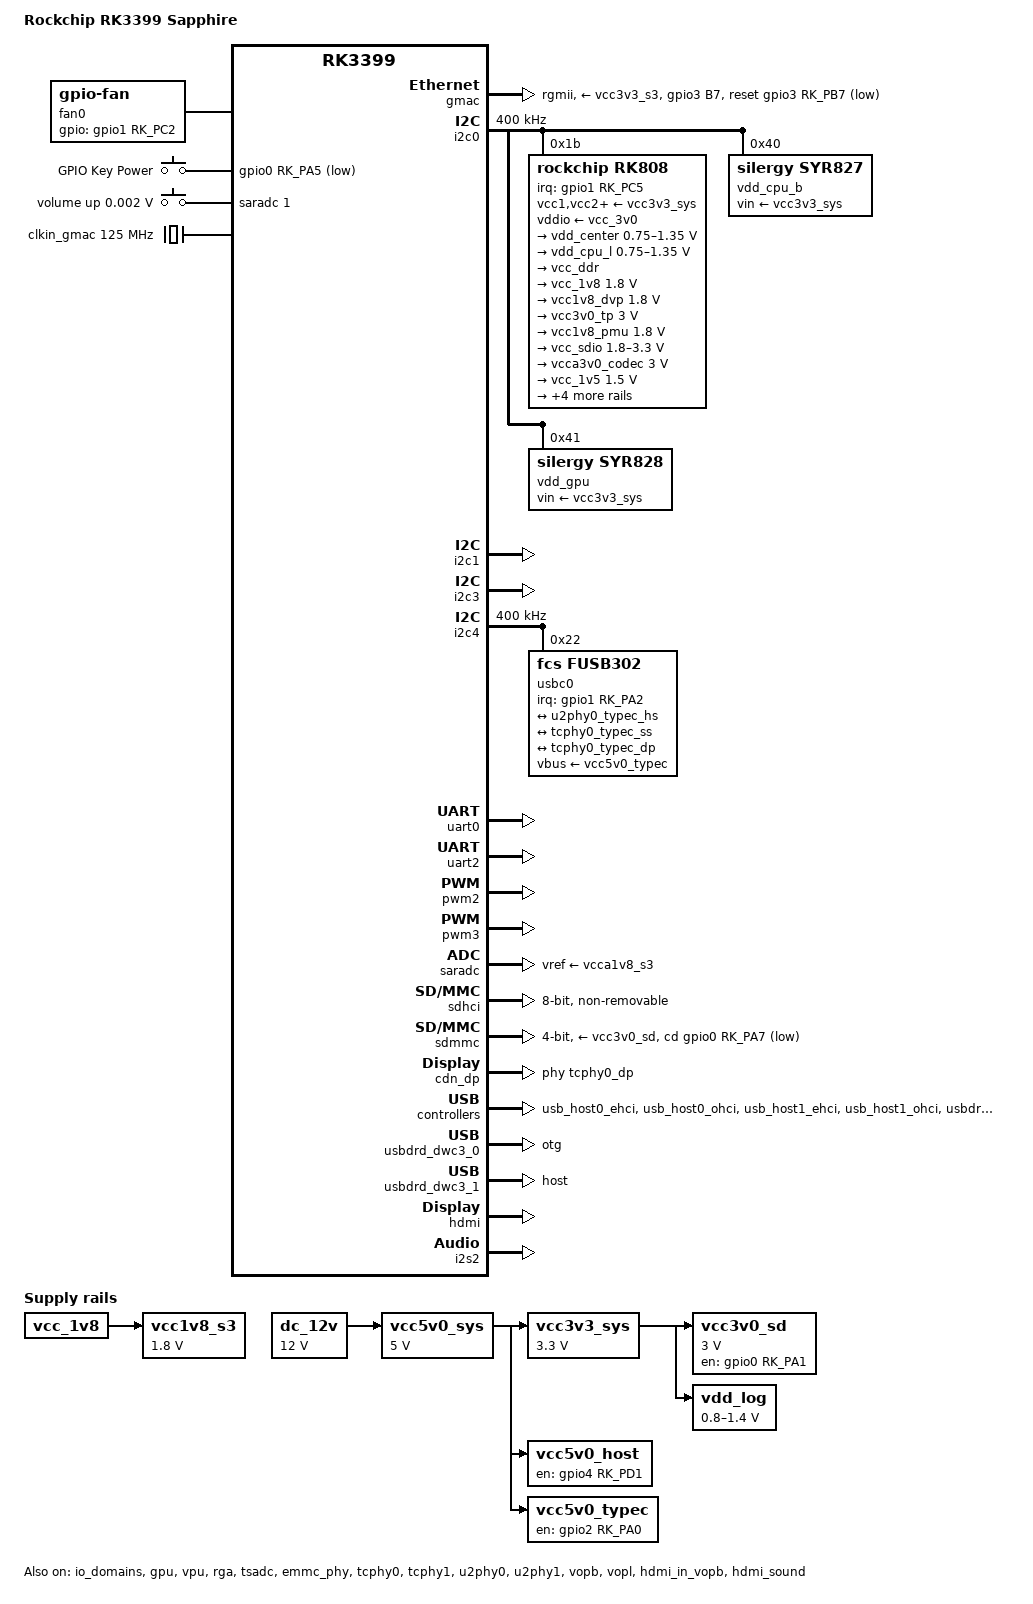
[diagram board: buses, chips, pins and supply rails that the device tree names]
// SPDX-License-Identifier: (GPL-2.0+ OR MIT)
/*
 * Copyright (C) 2025 kaixinos <kaixinos@outlook.com>
 */

/dts-v1/;
#include <dt-bindings/input/linux-event-codes.h>
#include <dt-bindings/leds/common.h>
#include <dt-bindings/pwm/pwm.h>
#include <dt-bindings/usb/pd.h>
#include "rk3399.dtsi"

/ {
	model = "Rockchip RK3399 Sapphire";
	compatible = "rk3399,rk-sapphire", "rockchip,rk3399";

	aliases {
		ethernet0 = &gmac;
		mmc0 = &sdio0;
		mmc1 = &sdmmc;
		mmc2 = &sdhci;
	};

	chosen {
		stdout-path = "serial2:1500000n8";
	};

	dc_12v: dc-12v {
		compatible = "regulator-fixed";
		regulator-name = "dc_12v";
		regulator-always-on;
		regulator-boot-on;
		regulator-min-microvolt = <12000000>;
		regulator-max-microvolt = <12000000>;
	};

	vcc5v0_sys: vcc5v0-sys {
		compatible = "regulator-fixed";
		regulator-name = "vcc5v0_sys";
		regulator-always-on;
		regulator-boot-on;
		regulator-min-microvolt = <5000000>;
		regulator-max-microvolt = <5000000>;
		vin-supply = <&dc_12v>;
	};

	vcc3v3_sys: vcc3v3-sys {
		compatible = "regulator-fixed";
		regulator-name = "vcc3v3_sys";
		regulator-always-on;
		regulator-boot-on;
		regulator-min-microvolt = <3300000>;
		regulator-max-microvolt = <3300000>;
		vin-supply = <&vcc5v0_sys>;
	};

	vcc3v0_sd: vcc3v0-sd {
		compatible = "regulator-fixed";
		regulator-name = "vcc3v0_sd";
		enable-active-high;
		gpio = <&gpio0 RK_PA1 GPIO_ACTIVE_HIGH>;
		pinctrl-names = "default";
		pinctrl-0 = <&sdmmc0_pwr_h>;
		regulator-always-on;
		regulator-min-microvolt = <3000000>;
		regulator-max-microvolt = <3000000>;
		vin-supply = <&vcc3v3_sys>;
	};

	vcc5v0_host: vcc5v0-host {
		compatible = "regulator-fixed";
		regulator-name = "vcc5v0_host";
		enable-active-high;
		gpio = <&gpio4 RK_PD1 GPIO_ACTIVE_HIGH>;
		pinctrl-names = "default";
		pinctrl-0 = <&vcc5v0_host_en>;
		regulator-always-on;
		vin-supply = <&vcc5v0_sys>;
	};

	vcc5v0_typec: vcc5v0-typec {
		compatible = "regulator-fixed";
		regulator-name = "vcc5v0_typec";
		enable-active-high;
		gpio = <&gpio2 RK_PA0 GPIO_ACTIVE_HIGH>;
		pinctrl-names = "default";
		pinctrl-0 = <&vcc5v0_typec_en>;
		vin-supply = <&vcc5v0_sys>;
	};

	vdd_log: vdd-log {
		compatible = "pwm-regulator";
		pwms = <&pwm2 0 25000 1>;
		regulator-name = "vdd_log";
		regulator-always-on;
		regulator-boot-on;
		regulator-min-microvolt = <800000>;
		regulator-max-microvolt = <1400000>;
		//regulator-init-microvolt = <900000>;
		vin-supply = <&vcc3v3_sys>;
	};

	/* switched by pmic_sleep */
	vcc1v8_s3: vcca1v8_s3: vcc1v8-s3 {
		compatible = "regulator-fixed";
		regulator-name = "vcc1v8_s3";
		regulator-always-on;
		regulator-boot-on;
		regulator-min-microvolt = <1800000>;
		regulator-max-microvolt = <1800000>;
		vin-supply = <&vcc_1v8>;
	};

	/*
	 * The fan power supply comes from the baseboard.
	 * For the standalone Sapphire one option is to connect a wire
	 * from  R90030 DNP R0805 pin2  to  C90002 10uF C0805 pin1 (vcc_sys).
	 */
	fan0: gpio-fan {
		status = "okay";
		#cooling-cells = <2>;
		compatible = "gpio-fan";
		gpio-fan,speed-map = <0 0 3000 1>;
		gpios = <&gpio1 RK_PC2 GPIO_ACTIVE_HIGH>;
	};

	gpio-keys {
		compatible = "gpio-keys";
		autorepeat;

		key-power {
			gpios = <&gpio0 RK_PA5 GPIO_ACTIVE_LOW>;
			label = "GPIO Key Power";
			linux,code = <KEY_POWER>;
			debounce-interval = <100>;
			pinctrl-names = "default";
			pinctrl-0 = <&power_key>;
			wakeup-source;
		};
	};

	adc-keys {
		compatible = "adc-keys";
		io-channels = <&saradc 1>;
		io-channel-names = "buttons";
		keyup-threshold-microvolt = <1800000>;
		poll-interval = <100>;

		vol-up-key {
			label = "volume up";
			linux,code = <KEY_VOLUMEUP>;
			press-threshold-microvolt = <1750>;
		};
	};

	clkin_gmac: external-gmac-clock {
		compatible = "fixed-clock";
		clock-frequency = <125000000>;
		clock-output-names = "clkin_gmac";
		#clock-cells = <0>;
	};
};

&io_domains {
	status = "okay";

	bt656-supply = <&vcc_3v0>;		/* APIO2_VDD */
	audio-supply = <&vcca1v8_codec>;	/* APIO5_VDD */
	sdmmc-supply = <&vcc_sdio>;		/* SDMMC0_VDD */
	gpio1830-supply = <&vcc_3v0>;		/* APIO4_VDD */
};

&pmu_io_domains {
	status = "okay";

	pmu1830-supply = <&vcc_3v0>;		/* PMUIO2_VDD */
};

&cpu_l0 {
	cpu-supply = <&vdd_cpu_l>;
};

&cpu_l1 {
	cpu-supply = <&vdd_cpu_l>;
};

&cpu_l2 {
	cpu-supply = <&vdd_cpu_l>;
};

&cpu_l3 {
	cpu-supply = <&vdd_cpu_l>;
};

&cpu_b0 {
	cpu-supply = <&vdd_cpu_b>;
};

&cpu_b1 {
	cpu-supply = <&vdd_cpu_b>;
};

&cpu_thermal {
	trips {
		cpu_hot: cpu_hot {
			hysteresis = <10000>;
			temperature = <55000>;
			type = "active";
		};
	};

	cooling-maps {
		map2 {
			cooling-device =
				<&fan0 THERMAL_NO_LIMIT THERMAL_NO_LIMIT>;
			trip = <&cpu_hot>;
		};
	};
};

&gpu {
	status = "okay";
	mali-supply = <&vdd_gpu>;
};

&vpu {
	status = "okay";
};

&rga {
	status = "okay";
};

&gmac {
	status = "okay";
	assigned-clock-parents = <&clkin_gmac>;
	assigned-clocks = <&cru SCLK_RMII_SRC>;
	clock_in_out = "input";
	phy-supply = <&vcc3v3_s3>;
	phy-mode = "rgmii";
	pinctrl-names = "default";
	pinctrl-0 = <&rgmii_pins &rgmii_phy_reset>;
	snps,reset-gpio = <&gpio3 RK_PB7 GPIO_ACTIVE_LOW>;
	snps,reset-active-low;
	snps,reset-delays-us = <0 10000 50000>;
	tx_delay = <0x28>;
	rx_delay = <0x11>;
};

&i2c0 {
	status = "okay";
	clock-frequency = <400000>;
	i2c-scl-rising-time-ns = <168>;
	i2c-scl-falling-time-ns = <4>;

	rk808: pmic@1b {
		compatible = "rockchip,rk808";
		reg = <0x1b>;
		interrupt-parent = <&gpio1>;
		interrupts = <RK_PC5 IRQ_TYPE_LEVEL_LOW>;
		#clock-cells = <1>;
		clock-output-names = "xin32k", "rk808-clkout2";
		pinctrl-names = "default";
		pinctrl-0 = <&pmic_int_l>;
		rockchip,system-power-controller;
		wakeup-source;

		vcc1-supply = <&vcc3v3_sys>;
		vcc2-supply = <&vcc3v3_sys>;
		vcc3-supply = <&vcc3v3_sys>;
		vcc4-supply = <&vcc3v3_sys>;
		vcc6-supply = <&vcc3v3_sys>;
		vcc7-supply = <&vcc3v3_sys>;
		vcc8-supply = <&vcc3v3_sys>;
		vcc9-supply = <&vcc3v3_sys>;
		vcc10-supply = <&vcc3v3_sys>;
		vcc11-supply = <&vcc3v3_sys>;
		vcc12-supply = <&vcc3v3_sys>;
		vddio-supply = <&vcc_3v0>;

		regulators {
			vdd_center: DCDC_REG1 {
				regulator-name = "vdd_center";
				regulator-always-on;
				regulator-boot-on;
				regulator-min-microvolt = <750000>;
				regulator-max-microvolt = <1350000>;
				regulator-ramp-delay = <6001>;

				regulator-state-mem {
					regulator-off-in-suspend;
				};
			};

			vdd_cpu_l: DCDC_REG2 {
				regulator-name = "vdd_cpu_l";
				regulator-always-on;
				regulator-boot-on;
				regulator-min-microvolt = <750000>;
				regulator-max-microvolt = <1350000>;
				regulator-ramp-delay = <6001>;

				regulator-state-mem {
					regulator-off-in-suspend;
				};
			};

			vcc_ddr: DCDC_REG3 {
				regulator-name = "vcc_ddr";
				regulator-always-on;
				regulator-boot-on;

				regulator-state-mem {
					regulator-on-in-suspend;
				};
			};

			vcc_1v8: DCDC_REG4 {
				regulator-name = "vcc_1v8";
				regulator-always-on;
				regulator-boot-on;
				regulator-min-microvolt = <1800000>;
				regulator-max-microvolt = <1800000>;

				regulator-state-mem {
					regulator-on-in-suspend;
					regulator-suspend-microvolt = <1800000>;
				};
			};

			vcc1v8_dvp: LDO_REG1 {
				regulator-name = "vcc1v8_dvp";
				regulator-always-on;
				regulator-boot-on;
				regulator-min-microvolt = <1800000>;
				regulator-max-microvolt = <1800000>;

				regulator-state-mem {
					regulator-off-in-suspend;
				};
			};

			vcc3v0_tp: LDO_REG2 {
				regulator-name = "vcc3v0_tp";
				regulator-always-on;
				regulator-boot-on;
				regulator-min-microvolt = <3000000>;
				regulator-max-microvolt = <3000000>;

				regulator-state-mem {
					regulator-off-in-suspend;
				};
			};

			vcc1v8_pmu: LDO_REG3 {
				regulator-name = "vcc1v8_pmu";
				regulator-always-on;
				regulator-boot-on;
				regulator-min-microvolt = <1800000>;
				regulator-max-microvolt = <1800000>;

				regulator-state-mem {
					regulator-on-in-suspend;
					regulator-suspend-microvolt = <1800000>;
				};
			};

			vcc_sdio: LDO_REG4 {
				regulator-name = "vcc_sdio";
				regulator-always-on;
				regulator-boot-on;
				regulator-min-microvolt = <1800000>;
				regulator-max-microvolt = <3300000>;

				regulator-state-mem {
					regulator-on-in-suspend;
					regulator-suspend-microvolt = <3000000>;
				};
			};

			vcca3v0_codec: LDO_REG5 {
				regulator-name = "vcca3v0_codec";
				regulator-always-on;
				regulator-boot-on;
				regulator-min-microvolt = <3000000>;
				regulator-max-microvolt = <3000000>;

				regulator-state-mem {
					regulator-off-in-suspend;
				};
			};

			vcc_1v5: LDO_REG6 {
				regulator-name = "vcc_1v5";
				regulator-always-on;
				regulator-boot-on;
				regulator-min-microvolt = <1500000>;
				regulator-max-microvolt = <1500000>;

				regulator-state-mem {
					regulator-on-in-suspend;
					regulator-suspend-microvolt = <1500000>;
				};
			};

			vcca1v8_codec: LDO_REG7 {
				regulator-name = "vcca1v8_codec";
				regulator-always-on;
				regulator-boot-on;
				regulator-min-microvolt = <1800000>;
				regulator-max-microvolt = <1800000>;

				regulator-state-mem {
					regulator-off-in-suspend;
				};
			};

			vcc_3v0: LDO_REG8 {
				regulator-name = "vcc_3v0";
				regulator-always-on;
				regulator-boot-on;
				regulator-min-microvolt = <3000000>;
				regulator-max-microvolt = <3000000>;

				regulator-state-mem {
					regulator-on-in-suspend;
					regulator-suspend-microvolt = <3000000>;
				};
			};

			vcc3v3_s3: SWITCH_REG1 {
				regulator-name = "vcc3v3_s3";
				regulator-always-on;
				regulator-boot-on;

				regulator-state-mem {
					regulator-off-in-suspend;
				};
			};

			vcc3v3_s0: SWITCH_REG2 {
				regulator-name = "vcc3v3_s0";
				regulator-always-on;
				regulator-boot-on;

				regulator-state-mem {
					regulator-off-in-suspend;
				};
			};
		};
	};

	vdd_cpu_b: regulator@40 {
		compatible = "silergy,syr827";
		reg = <0x40>;
		fcs,suspend-voltage-selector = <1>;
		//pinctrl-names = "default";
		//pinctrl-0 = <&vsel1_pin>;
		//regulator-compatible = "fan53555-reg";
		regulator-name = "vdd_cpu_b";
		regulator-min-microvolt = <712500>;
		regulator-max-microvolt = <1500000>;
		regulator-ramp-delay = <1000>;
		regulator-always-on;
		regulator-boot-on;
		vin-supply = <&vcc3v3_sys>;

		regulator-state-mem {
			regulator-off-in-suspend;
		};
	};

	vdd_gpu: regulator@41 {
		compatible = "silergy,syr828";
		reg = <0x41>;
		fcs,suspend-voltage-selector = <1>;
		//pinctrl-names = "default";
		//pinctrl-0 = <&vsel2_pin>;
		//regulator-compatible = "fan53555-reg";
		regulator-name = "vdd_gpu";
		regulator-min-microvolt = <712500>;
		regulator-max-microvolt = <1500000>;
		regulator-ramp-delay = <1000>;
		regulator-always-on;
		regulator-boot-on;
		vin-supply = <&vcc3v3_sys>;

		regulator-state-mem {
			regulator-off-in-suspend;
		};
	};
};

&i2c1 {
	status = "okay";
	i2c-scl-rising-time-ns = <300>;
	i2c-scl-falling-time-ns = <15>;
};

&i2c3 {
	status = "okay";
	i2c-scl-rising-time-ns = <450>;
	i2c-scl-falling-time-ns = <15>;
};

&i2c4 {
	status = "okay";
	i2c-scl-rising-time-ns = <160>;
	i2c-scl-falling-time-ns = <30>;
	clock-frequency = <400000>;

	usbc0: fusb302@22 {
		compatible = "fcs,fusb302";
		reg = <0x22>;
		interrupt-parent = <&gpio1>;
		interrupts = <RK_PA2 IRQ_TYPE_LEVEL_LOW>;
		pinctrl-names = "default";
		pinctrl-0 = <&usbc0_int>;
		vbus-supply = <&vcc5v0_typec>;

		connector {
			compatible = "usb-c-connector";
			label = "USB-C";
			op-sink-microwatt = <1000000>;
			power-role = "dual";
			data-role = "dual";
			sink-pdos =
				<PDO_FIXED(5000, 2500, PDO_FIXED_USB_COMM)>;
			source-pdos =
				<PDO_FIXED(5000, 1400, PDO_FIXED_USB_COMM)>;
			try-power-role = "sink";

			extcon-cables = <1 2 5 6 9 10 12 44>;
			typec-altmodes = <0xff01 1 0x001c0000 1>;

			ports {
				#address-cells = <1>;
				#size-cells = <0>;

				port@0 {
					reg = <0>;
					usb_con_hs: endpoint {
						remote-endpoint =
							<&u2phy0_typec_hs>;
					};
				};

				port@1 {
					reg = <1>;

					usb_con_ss: endpoint {
						remote-endpoint =
							<&tcphy0_typec_ss>;
					};
				};

				port@2 {
					reg = <2>;
					usb_con_sbu: endpoint {
						remote-endpoint =
							<&tcphy0_typec_dp>;
					};
				};
			};
		};
	};
};

&uart0 {
	status = "okay";
	pinctrl-names = "default";
	pinctrl-0 = <&uart0_xfer &uart0_cts &uart0_rts>;
};

&uart2 {
	status = "okay";
};

&pwm0 {
	status = "disabled";
};

&pwm2 {
	status = "okay";
	pinctrl-names = "active";
	pinctrl-0 = <&pwm2_pin_pull_down>;
};

&pwm3 {
	status = "okay";
};

&saradc {
	status = "okay";
	vref-supply = <&vcca1v8_s3>;
};

&tsadc {
	status = "okay";

	/* tshut mode 0:CRU 1:GPIO */
	rockchip,hw-tshut-mode = <1>;
	/* tshut polarity 0:LOW 1:HIGH */
	rockchip,hw-tshut-polarity = <1>;
};

&emmc_phy {
	status = "okay";
};

&sdhci {
	status = "okay";
	//max-frequency = <150000000>;
	bus-width = <8>;
	mmc-hs400-1_8v;
	mmc-hs400-enhanced-strobe;
	non-removable;
};

&sdmmc {
	status = "okay";
	clock-frequency = <150000000>;
	max-frequency = <150000000>;
	bus-width = <4>;
	cap-mmc-highspeed;
	cap-sd-highspeed;
	disable-wp;
	sd-uhs-sdr104;
	pinctrl-names = "default";
	pinctrl-0 = <&sdmmc_clk &sdmmc_cmd &sdmmc_bus4 &sdmmc_cd>;
	cd-gpios = <&gpio0 RK_PA7 GPIO_ACTIVE_LOW>;
	vmmc-supply = <&vcc3v0_sd>;
	vqmmc-supply = <&vcc_sdio>;
	//card-detect-delay = <800>;
};

&sdio0 {
	status = "disabled";
};

&pcie_phy {
	status = "disabled";
};

&pcie0 {
	status = "disabled";
};

&cdn_dp {
	status = "okay";
	extcon = <&usbc0>;
	phys = <&tcphy0_dp>;
};

&tcphy0 {
	status = "okay";
	extcon = <&usbc0>;
};

&tcphy0_dp {
	port {
		tcphy0_typec_dp: endpoint {
			remote-endpoint = <&usb_con_sbu>;
		};
	};
};

&tcphy0_usb3 {
	port {
		tcphy0_typec_ss: endpoint {
			remote-endpoint = <&usb_con_ss>;
		};
	};
};

&tcphy1 {
	status = "okay";
};

&u2phy0 {
	status = "okay";
	extcon = <&usbc0>;

	u2phy0_otg: otg-port {
		status = "okay";
	};

	u2phy0_host: host-port {
		status = "okay";
		phy-supply = <&vcc5v0_host>;
	};

	port {
		u2phy0_typec_hs: endpoint {
			remote-endpoint = <&usb_con_hs>;
		};
	};
};

&u2phy1 {
	status = "okay";

	u2phy1_otg: otg-port {
		status = "okay";
	};

	u2phy1_host: host-port {
		status = "okay";
		phy-supply = <&vcc5v0_host>;
	};
};

&usb_host0_ehci {
	status = "okay";
};

&usb_host0_ohci {
	status = "okay";
};

&usb_host1_ehci {
	status = "okay";
};

&usb_host1_ohci {
	status = "okay";
};

&usbdrd3_0 {
	status = "okay";
};

&usbdrd_dwc3_0 {
	status = "okay";
	extcon = <&usbc0>;
	dr_mode = "otg";
};

&usbdrd3_1 {
	status = "okay";
};

&usbdrd_dwc3_1 {
	status = "okay";
	dr_mode = "host";
};

&vopb {
	status = "okay";
};

&vopb_mmu {
	status = "okay";
};

&vopl {
	status = "okay";
};

&vopl_mmu {
	status = "okay";
};

&hdmi {
	status = "okay";
	ddc-i2c-bus = <&i2c3>;
	pinctrl-names = "default";
	pinctrl-0 = <&hdmi_cec>;
};

&hdmi_in_vopb {
	status = "okay";
};

&hdmi_in_vopl {
	status = "disabled";
};

&hdmi_sound {
	status = "okay";
};

&i2s0 {
	status = "disabled";
};

&i2s1 {
	status = "disabled";
};

&i2s2 {
	status = "okay";
};

&pinctrl {
	pmic {
		pmic_int_l: pmic-int-l {
			rockchip,pins =
				<1 RK_PC5 RK_FUNC_GPIO &pcfg_pull_up>;
		};
/*
		vsel1_pin: vsel1-pin {
			rockchip,pins =
				<1 RK_PC1 RK_FUNC_GPIO &pcfg_pull_down>;
		};

		vsel2_pin: vsel2-pin {
			rockchip,pins =
				<1 RK_PB6 RK_FUNC_GPIO &pcfg_pull_down>;
		};
*/
	};

	sd {
		sdmmc0_pwr_h: sdmmc0-pwr-h {
			rockchip,pins =
				<0 RK_PA1 RK_FUNC_GPIO &pcfg_pull_none>;
		};
	};

	usb2 {
		vcc5v0_host_en: vcc5v0-host-en {
			rockchip,pins =
				<4 RK_PD1 RK_FUNC_GPIO &pcfg_pull_none>;
		};
	};

	usb-typec {
		vcc5v0_typec_en: vcc5v0-typec-en {
			rockchip,pins =
				<2 RK_PA0 RK_FUNC_GPIO &pcfg_pull_none>;
		};

		usbc0_int: usbc0-int {
			rockchip,pins =
				<1 RK_PA2 RK_FUNC_GPIO &pcfg_pull_up>;
		};
	};

	rockchip-key {
		power_key: power-key {
			rockchip,pins =
				<0 RK_PA5 RK_FUNC_GPIO &pcfg_pull_up>;
		};
	};

	gmac {
		rgmii_phy_reset: rgmii-phy-reset {
			rockchip,pins =
				<3 RK_PB7 RK_FUNC_GPIO &pcfg_output_low>;
		};
	};
};
